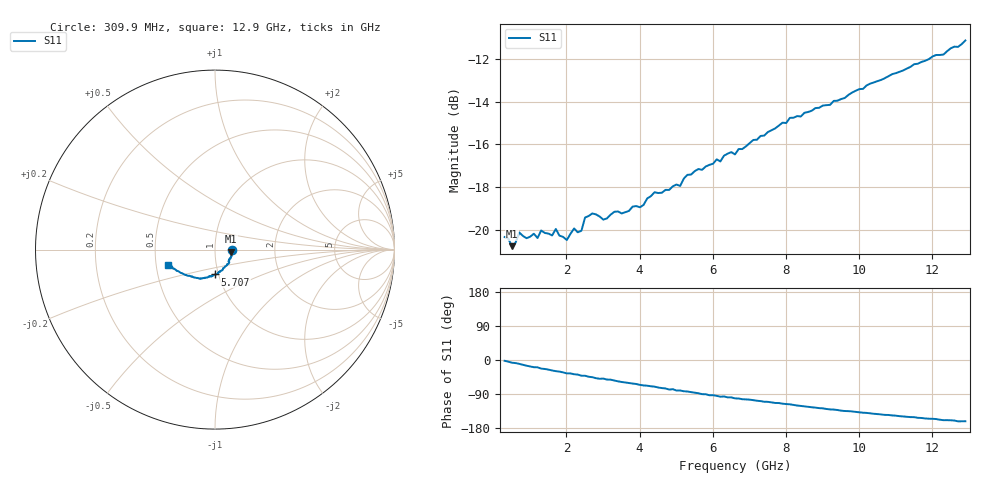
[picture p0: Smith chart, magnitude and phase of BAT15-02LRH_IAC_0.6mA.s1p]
! Infineon Technologies  Discrete & RF Semiconductors
! BAT15-02LRH
! IAC = 0.6 mA
! One-Port S-Parameters
# Hz  S  MA  R  50
!f  S11
!Hz  Mag  Ang
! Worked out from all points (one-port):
!   127 points, 309.9 MHz to 12.9 GHz, reference 50 ohm
!   lowest |S11| = -20.8 dB at 509.8 MHz (marker M1), VSWR 1.20, Z = 60 - j1.36 ohm
!   |S11| at or under -10 dB: start of sweep to end of sweep
!   S11 on the Smith chart (normalised r, x): 309.9 MHz: 1.21, -0.01; 5.707 GHz: 0.96, -0.27; 12.9 GHz: 0.58, -0.11
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3.0985e8  0.09617 -2.1
5.0975e8  0.09153 -7.1
7.0965e8  0.09856 -10.2
1.2094e9  0.09565 -19.3
1.30935e9  0.09961 -22.7
1.6092e9  0.09699 -27.6
1.70915e9  0.1004 -29.4
1.90905e9  0.09623 -32.8
2.009e9  0.09461 -35.3
2.2089e9  0.1007 -37.6
2.4088e9  0.09946 -41.5
2.50875e9  0.1068 -41.5
2.70865e9  0.1092 -45.4
3.0085e9  0.1056 -49.0
3.30835e9  0.1102 -54.1
3.50825e9  0.1092 -58.0
4.10795e9  0.1143 -67.1
4.4078e9  0.1224 -70.3
5.10745e9  0.1267 -80.5
5.30735e9  0.1345 -83.2
5.70715e9  0.1382 -90.1
6.4068e9  0.1508 -98.7
6.6067e9  0.1502 -101.3
8.2059e9  0.183 -118.6
9.8051e9  0.2096 -135.7
1.14043e10  0.2409 -150.7
1.230385e10  0.2573 -158.9
1.290355e10  0.2777 -161.6
